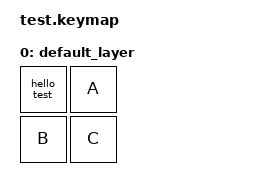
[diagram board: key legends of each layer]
#include <behaviors.dtsi>
#include <dt-bindings/zmk/keys.h>

/ {
    macros {
        hello_test: hello_test {
            compatible = "zmk,behavior-macro";
            #binding-cells = <0>;
            wait-ms = <40>;
            tap-ms = <40>;
            bindings = <
                &kp H &kp E &kp L &kp L &kp O &kp SPACE
                &kp Z &kp M &kp K
            >;
        };
    };

    keymap {
        compatible = "zmk,keymap";

        default_layer {
            bindings = <
                &hello_test &kp A
                &kp B        &kp C
            >;
        };
    };
};
